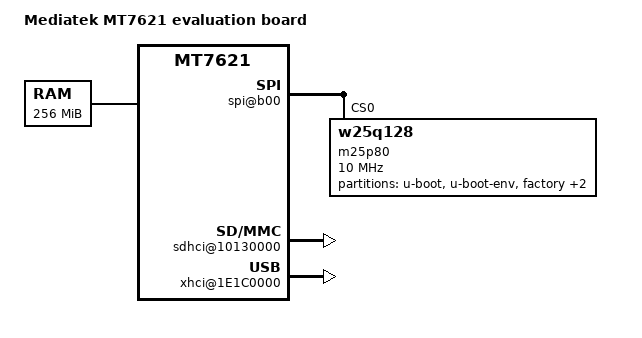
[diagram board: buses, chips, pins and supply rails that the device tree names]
/dts-v1/;

/include/ "mt7621.dtsi"

/ {
	compatible = "mediatek,mt7621-eval-board", "mediatek,mt7621-soc";
	model = "Mediatek MT7621 evaluation board";

	memory@0 {
		device_type = "memory";
		//reg = <0x0 0x2000000>;
		reg = <0x0 0x10000000>;
	};

	chosen {
		bootargs = "console=ttyS0,57600";
	};

	/*************add by lyp**************/
	palmbus@1E000000 {
		spi@b00 {
			status = "okay";

			m25p80@0 {
				#address-cells = <1>;
				#size-cells = <1>;
				compatible = "w25q128";
				reg = <0 0>;
				linux,modalias = "m25p80";
				spi-max-frequency = <10000000>;

				partition@0 {
					label = "u-boot";
					reg = <0x0 0x30000>;
					read-only;
				};

				partition@30000 {
					label = "u-boot-env";
					reg = <0x30000 0x10000>;
					read-only;
				};

				factory: partition@40000 {
					label = "factory";
					reg = <0x40000 0x10000>;
					read-only;
				};

				partition@50000 {
					label = "firmware";
					reg = <0x50000 0x7a0000>;
				};

				partition@7f0000 {
					label = "test";
					reg = <0x7f0000 0x10000>;
				};
			};
		};
	};
	/*************add by lyp**************/


	sdhci@10130000 {
		status = "okay";
	};

	xhci@1E1C0000 {
		status = "okay";
	};

	pinctrl {
		state_default: pinctrl0 {
			gpio {
				ralink,group = "i2c", "uart2", "uart3", "rgmii2", "sdhci";
				ralink,function = "gpio";
			};
		};
	};
};
